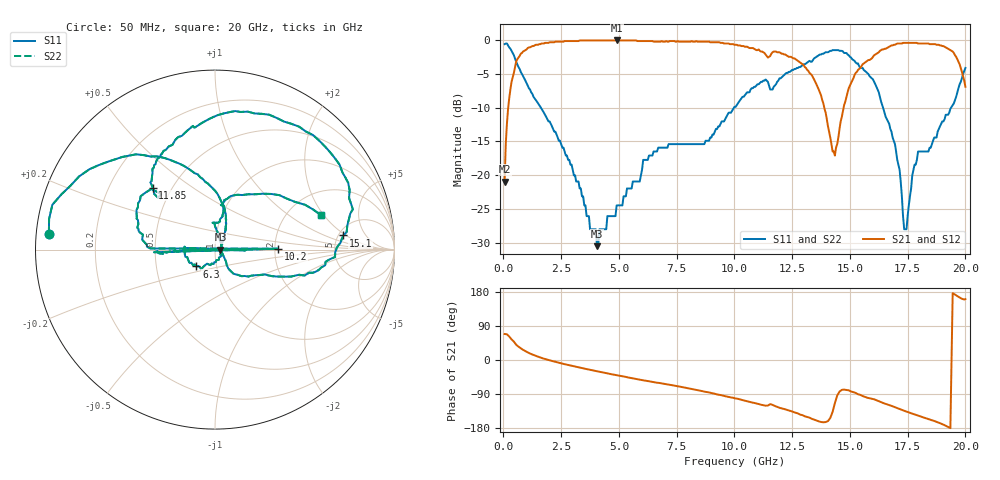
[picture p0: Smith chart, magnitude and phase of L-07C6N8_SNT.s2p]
#	mhz	s	ma	r	50
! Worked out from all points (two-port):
!   400 points, 50 MHz to 20 GHz, reference 50 ohm
!   highest |S21| = -0.09 dB at 4.9 GHz (marker M1); lowest = -20.9 dB at 50 MHz (marker M2)
!   |S21| within 3 dB of the highest: 568.4 MHz to 12.75 GHz (12.18 GHz wide, 183 % of centre); 15.75 GHz to 19.68 GHz (3.927 GHz wide, 22.2 % of centre)
!   lowest |S11| = -30.5 dB at 4.05 GHz (marker M3), VSWR 1.06, Z = 53.1 - j0.122 ohm
!   |S11| at or under -10 dB: 1.619 GHz to 9.981 GHz (8.363 GHz wide, 144 % of centre); 16.43 GHz to 19.38 GHz (2.947 GHz wide, 16.5 % of centre)
!   |S22| runs from -30.5 to -0.5 dB; largest |S21 - S12| = 0
!   S11 on the Smith chart (normalised r, x): 50 MHz: 0.04, +0.05; 6.3 GHz: 0.80, -0.15; 10.2 GHz: 2.08, +0.02; 11.85 GHz: 0.39, +0.36; 15.1 GHz: 5.53, +1.81; 20 GHz: 2.99, +1.87
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50  0.93 174.5  0.09 68.6  0.09 68.6  0.93 174.5
600  0.66 127.1  0.72 37.8  0.72 37.8  0.66 127.1
3400  0.07 49.2  0.99 -21.5  0.99 -21.5  0.07 49.2
4050  0.03 -2.2  0.99 -29.7  0.99 -29.7  0.03 -2.2
4900  0.06 -67.8  0.99 -40.1  0.99 -40.1  0.06 -67.8
6300  0.14 -138.0  0.98 -56.2  0.98 -56.2  0.14 -138.0
6700  0.16 -152.2  0.97 -60.3  0.97 -60.3  0.16 -152.2
8500  0.17 -1.3  0.97 -80.7  0.97 -80.7  0.17 -1.3
10050  0.32 -178.7  0.92 -101.5  0.92 -101.5  0.32 -178.7
10150  0.34 -177.5  0.91 -102.4  0.91 -102.4  0.34 -177.5
10200  0.35 0.8  0.91 -103.3  0.91 -103.3  0.35 0.8
10250  0.36 179.0  0.91 -104.1  0.91 -104.1  0.36 179.0
11850  0.49 135.2  0.81 -123.6  0.81 -123.6  0.49 135.2
13350  0.69 99.3  0.55 -155.2  0.55 -155.2  0.69 99.3
14350  0.84 42.5  0.14 -113.7  0.14 -113.7  0.84 42.5
15100  0.72 6.3  0.5 -83.9  0.5 -83.9  0.72 6.3
16700  0.24 -38.7  0.89 -118.8  0.89 -118.8  0.24 -38.7
17450  0.04 32.7  0.95 -136.0  0.95 -136.0  0.04 32.7
19350  0.31 73.8  0.84 -179.8  0.84 -179.8  0.31 73.8
19400  0.32 70.8  0.83 -1.8  0.83 -1.8  0.32 70.8
19450  0.33 67.8  0.82 176.2  0.82 176.2  0.33 67.8
20000  0.62 18.1  0.45 160.6  0.45 160.6  0.62 18.1
